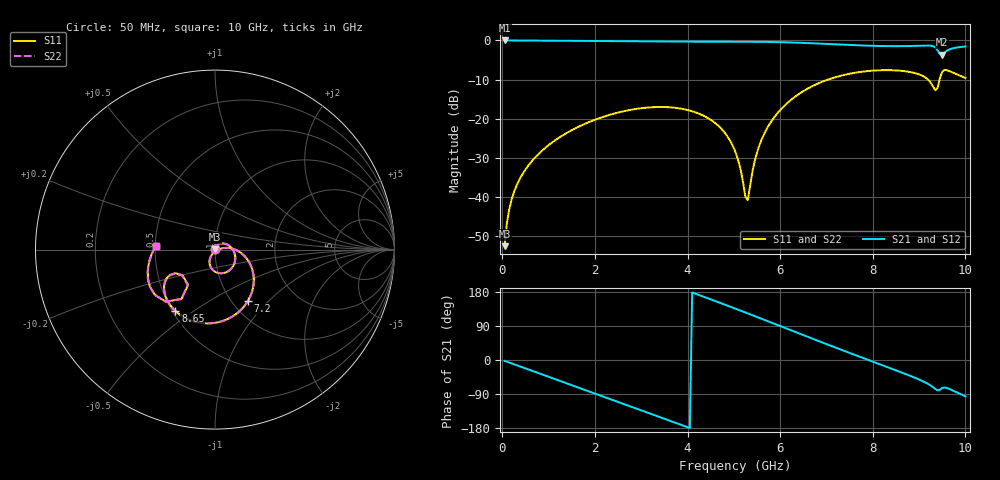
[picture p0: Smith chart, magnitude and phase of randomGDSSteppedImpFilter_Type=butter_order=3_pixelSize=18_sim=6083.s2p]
! freq	dB(S11)	phase(S11)	dB(S12)	phase(S12)
!  dB(S21)	phase(S21)	dB(S22)	phase(S22)
!S-par simulation data
#  GHz  S  DB  R 50
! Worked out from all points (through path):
!   200 points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, 50 MHz to 10 GHz, reference 50 ohm
!   highest |S21| = 0.00 dB at 50 MHz (marker M1); lowest = -3.6 dB at 9.5 GHz (marker M2)
!   group delay of S21, straight-line fit = 128 ps
!   lowest |S11| = -52.6 dB at 50 MHz (marker M3), VSWR 1.00, Z = 50 + j0.233 ohm
!   |S11| at or under -10 dB: start of sweep to 7.036 GHz; 9.192 GHz to 9.442 GHz (250.6 MHz wide, 2.69 % of centre)
!   |S22| runs from -52.6 to -7.5 dB; largest |S21 - S12| = 0
!   S11 on the Smith chart (normalised r, x): 50 MHz: 1.00, +0.00; 7.2 GHz: 1.18, -0.76; 8.65 GHz: 0.52, -0.43; 10 GHz: 0.50, +0.02
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0.05  -52.62 85.5  -0.00 -2.3  -0.00 -2.3  -52.63 85.5
0.1  -46.64 83.6  -0.01 -4.5  -0.01 -4.5  -46.65 83.7
0.2  -40.74 79.0  -0.02 -8.9  -0.02 -8.9  -40.74 79.0
0.45  -33.92 68.7  -0.03 -20.0  -0.03 -20.0  -33.93 68.6
1.15  -25.46 39.9  -0.07 -50.9  -0.07 -50.9  -25.46 39.8
1.75  -21.50 13.6  -0.12 -77.4  -0.12 -77.4  -21.50 13.4
2.55  -18.30 -21.6  -0.19 -112.8  -0.19 -112.8  -18.30 -21.8
3.4  -17.02 -58.7  -0.27 -150.5  -0.27 -150.5  -17.02 -58.9
4.45  -19.92 -103.5  -0.31 162.4  -0.31 162.4  -19.92 -103.6
5.05  -29.04 -121.6  -0.31 134.7  -0.31 134.7  -29.03 -121.5
5.3  -40.84 -39.5  -0.32 123.0  -0.32 123.0  -40.63 -40.0
5.45  -30.87 8.9  -0.34 115.9  -0.34 115.9  -30.84 8.3
5.7  -22.85 7.7  -0.37 104.0  -0.37 104.0  -22.84 7.4
6.1  -16.60 -7.6  -0.47 84.8  -0.47 84.8  -16.60 -7.9
6.7  -11.66 -34.5  -0.72 56.1  -0.72 56.1  -11.66 -34.7
7.2  -9.38 -57.2  -1.00 32.5  -1.00 32.5  -9.38 -57.4
8.35  -7.60 -108.9  -1.45 -20.1  -1.45 -20.1  -7.60 -108.9
8.65  -7.81 -122.8  -1.45 -34.1  -1.45 -34.1  -7.81 -122.8
9.1  -9.20 -144.9  -1.32 -57.2  -1.32 -57.2  -9.20 -144.7
9.35  -12.74 -142.0  -1.79 -76.3  -1.79 -76.3  -12.67 -141.6
9.5  -7.99 -133.3  -3.60 -73.9  -3.60 -73.9  -7.94 -133.4
10  -9.60 176.6  -1.55 -95.8  -1.55 -95.8  -9.59 176.9
